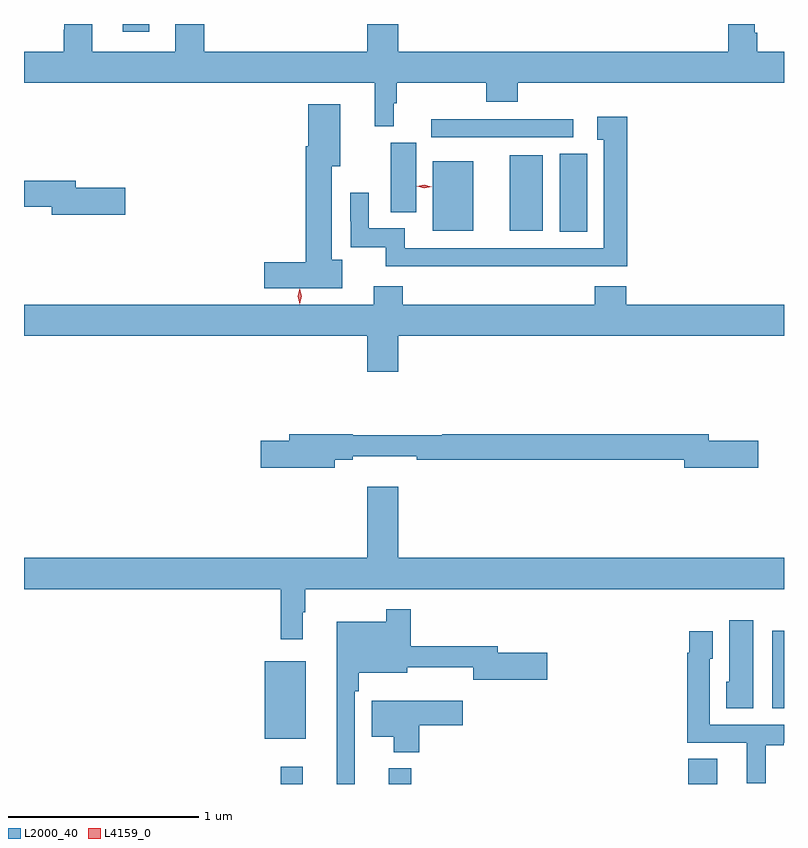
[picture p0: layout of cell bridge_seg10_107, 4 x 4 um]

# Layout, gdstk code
import gdstk
lib = gdstk.Library(unit=1e-6, precision=1e-09)
def R(c, l, rs):  # rectangles x0, y0, x1, y1
    for r in rs: c.add(gdstk.rectangle(r[:2], r[2:], *l))
def P(c, l, *ps):  # polygons
    for p in ps: c.add(gdstk.Polygon(p, *l))
L2000_40 = (2000, 40)
L4159_0 = (4159, 0)

bridge_seg10_107 = lib.new_cell('bridge_seg10_107')
R(bridge_seg10_107, L2000_40, [(476.239,1277.978,476.357,1278.07), (476.81,1277.978,476.927,1278.061), (478.385,1277.978,478.537,1278.11), (476.156,1278.215,476.371,1278.625), (478.826,1278.376,478.889,1278.784), (477.71,1280.884,477.853,1281.296), (477.041,1280.891,477.253,1281.256), (477.446,1280.891,477.619,1281.286), (476.819,1280.987,476.953,1281.354), (477.033,1281.381,477.781,1281.477), (475.409,1281.936,475.549,1281.978)])
P(bridge_seg10_107, L2000_40, [(476.834,1281.56),(476.852,1281.56),(476.852,1281.668),(477.323,1281.668),(477.323,1281.569),(477.488,1281.569),(477.488,1281.668),(478.889,1281.668),(478.889,1281.832),(478.748,1281.832),(478.748,1281.933),(478.735,1281.933),(478.735,1281.978),(478.595,1281.978),(478.595,1281.832),(476.86,1281.832),(476.86,1281.978),(476.696,1281.978),(476.696,1281.832),(475.838,1281.832),(475.838,1281.978),(475.685,1281.978),(475.685,1281.832),(475.249,1281.832),(475.249,1281.978),(475.102,1281.978),(475.102,1281.948),(475.097,1281.948),(475.097,1281.832),(474.889,1281.832),(474.889,1281.668),(476.735,1281.668),(476.735,1281.439),(476.834,1281.439)],
  [(476.563,1280.736),(476.509,1280.736),(476.509,1281.23),(476.554,1281.23),(476.554,1281.556),(476.384,1281.556),(476.384,1281.334),(476.372,1281.334),(476.372,1280.723),(476.154,1280.723),(476.154,1280.588),(476.563,1280.588)],
  [(477.809,1280.703),(478.063,1280.703),(478.063,1281.49),(477.905,1281.49),(477.905,1281.369),(477.941,1281.369),(477.941,1280.799),(476.893,1280.799),(476.893,1280.902),(476.703,1280.902),(476.703,1281.091),(476.607,1281.091),(476.607,1280.94),(476.61,1280.94),(476.61,1280.802),(476.794,1280.802),(476.794,1280.702),(477.809,1280.702)],
  [(475.423,1281.116),(475.162,1281.116),(475.162,1281.152),(474.889,1281.152),(474.889,1281.016),(475.034,1281.016),(475.034,1280.974),(475.423,1280.974)],
  [(476.86,1280.336),(478.889,1280.336),(478.889,1280.5),(478.058,1280.5),(478.058,1280.599),(477.893,1280.599),(477.893,1280.5),(476.882,1280.5),(476.882,1280.599),(476.729,1280.599),(476.729,1280.5),(474.889,1280.5),(474.889,1280.336),(476.696,1280.336),(476.696,1280.148),(476.86,1280.148)],
  [(476.524,1279.684),(476.62,1279.684),(476.62,1279.703),(476.956,1279.703),(476.956,1279.684),(478.364,1279.684),(478.364,1279.642),(478.753,1279.642),(478.753,1279.784),(478.492,1279.784),(478.492,1279.82),(477.089,1279.82),(477.089,1279.813),(476.62,1279.813),(476.62,1279.82),(476.285,1279.82),(476.285,1279.784),(476.136,1279.784),(476.136,1279.642),(476.524,1279.642)],
  [(476.356,1278.881),(476.368,1278.881),(476.368,1279.004),(478.889,1279.004),(478.889,1279.168),(476.86,1279.168),(476.86,1279.543),(476.696,1279.543),(476.696,1279.168),(474.889,1279.168),(474.889,1279.004),(476.239,1279.004),(476.239,1278.741),(476.356,1278.741)],
  [(476.631,1278.467),(476.651,1278.467),(476.651,1278.563),(476.905,1278.563),(476.905,1278.593),(477.254,1278.593),(477.254,1278.527),(477.643,1278.527),(477.643,1278.669),(477.382,1278.669),(477.382,1278.703),(476.924,1278.703),(476.924,1278.898),(476.796,1278.898),(476.796,1278.832),(476.534,1278.832),(476.534,1277.978),(476.631,1277.978)],
  [(478.726,1278.841),(478.601,1278.841),(478.601,1278.516),(478.586,1278.516),(478.586,1278.376),(478.726,1278.376)],
  [(478.792,1278.183),(478.888,1278.183),(478.888,1278.195),(478.889,1278.195),(478.889,1278.291),(478.497,1278.291),(478.497,1278.636),(478.513,1278.636),(478.513,1278.781),(478.389,1278.781),(478.389,1278.668),(478.381,1278.668),(478.381,1278.195),(478.694,1278.195),(478.694,1277.982),(478.792,1277.982)],
  [(476.969,1278.286),(477.199,1278.286),(477.199,1278.415),(476.72,1278.415),(476.72,1278.227),(476.834,1278.227),(476.834,1278.146),(476.969,1278.146)])
P(bridge_seg10_107, L4159_0, [(476.996,1281.113),(476.955,1281.123),(476.955,1281.124),(476.955,1281.124),(476.996,1281.133),(477.036,1281.122),(477.036,1281.122),(477.036,1281.122)],
  [(476.34,1280.504),(476.34,1280.504),(476.33,1280.544),(476.34,1280.584),(476.34,1280.584),(476.341,1280.584),(476.35,1280.544),(476.341,1280.504)])

lib.write_gds('bridge_seg10_107.gds')
